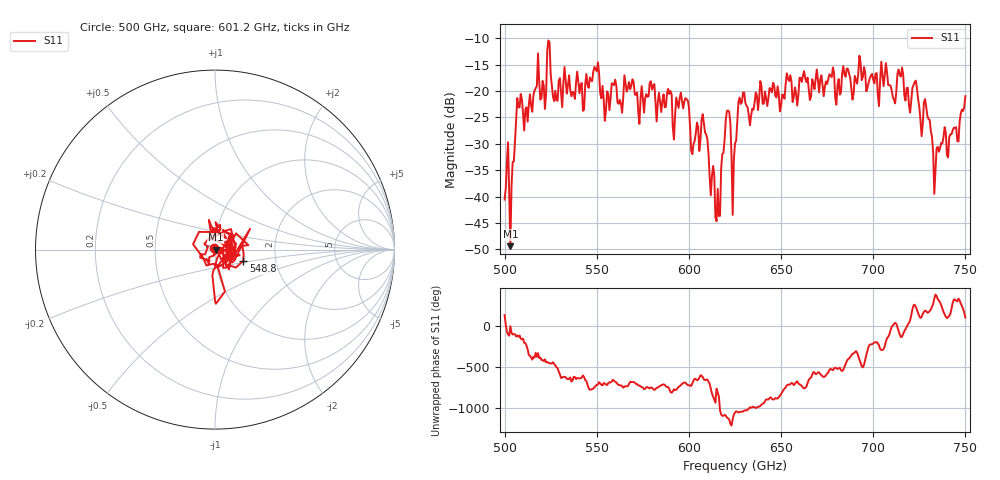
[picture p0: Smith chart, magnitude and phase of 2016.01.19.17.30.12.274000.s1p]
!Created with skrf (http://scikit-rf.org).
# GHz S RI R 50.0
!freq ReS11 ImS11
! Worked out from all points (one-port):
!   401 points, 500 GHz to 750 GHz, reference 50 ohm
!   lowest |S11| = -49.4 dB at 503.1 GHz (marker M1), VSWR 1.01, Z = 50.3 - j0.0183 ohm
!   |S11| at or under -10 dB: start of sweep to end of sweep
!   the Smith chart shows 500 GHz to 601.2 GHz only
!   S11 on the Smith chart (normalised r, x): 500 GHz: 0.99, +0.01; 548.8 GHz: 1.36, -0.18; 601.2 GHz: 1.06, -0.01
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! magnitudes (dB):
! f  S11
! 500 GHz  -40.6
! 503.1 GHz  -49.4
! 508.1 GHz  -23.1
! 521.2 GHz  -19.0
! 524.4 GHz  -10.8
! 527.5 GHz  -19.9
! 531.2 GHz  -23.0
! 541.9 GHz  -18.5
! 548.8 GHz  -15.4
! 562.5 GHz  -21.7
! 568.8 GHz  -19.0
! 593.8 GHz  -22.2
! 598.8 GHz  -21.6
! 601.2 GHz  -31.3
! 608.1 GHz  -26.2
! 615.6 GHz  -38.5
! 620.6 GHz  -23.7
! 625 GHz  -29.9
! 628.8 GHz  -22.1
! 656.2 GHz  -22.1
! 687.5 GHz  -17.5
! 705.6 GHz  -19.1
! 711.2 GHz  -21.6
! 715 GHz  -17.3
! 718.8 GHz  -19.4
! 728.8 GHz  -23.0
! 733.8 GHz  -35.2
! 750 GHz  -21.0
